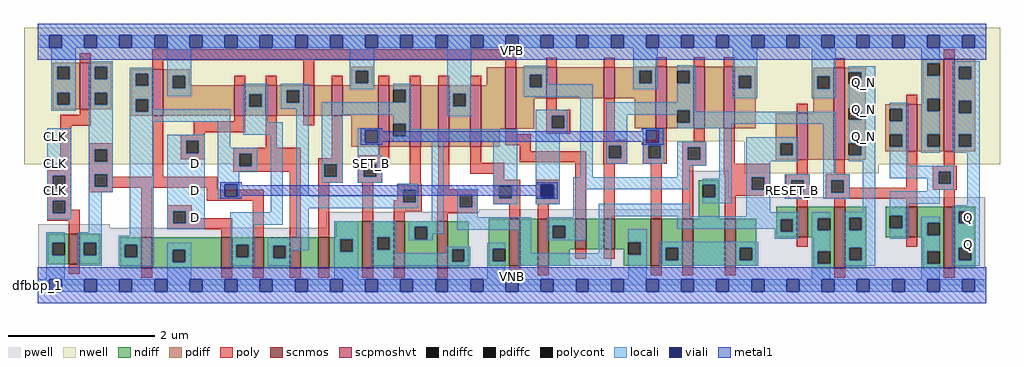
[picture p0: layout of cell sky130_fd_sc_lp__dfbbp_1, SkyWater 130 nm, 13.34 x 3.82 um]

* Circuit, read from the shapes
.subckt sky130_fd_sc_lp__dfbbp_1 CLK D RESET_B SET_B VGND VNB VPB VPWR Q Q_N
XM1 n1 CLK VGND VNB sky130_fd_pr__nfet_01v8 w=0.42 l=0.15
XM2 VGND n1 n2 VNB sky130_fd_pr__nfet_01v8 w=0.42 l=0.15
XM3 n3 D VGND VNB sky130_fd_pr__nfet_01v8 w=0.42 l=0.15
XM4 n4 n1 n3 VNB sky130_fd_pr__nfet_01v8 w=0.42 l=0.15
XM5 n5 n2 n4 VNB sky130_fd_pr__nfet_01v8 w=0.42 l=0.15
XM6 VGND n6 n5 VNB sky130_fd_pr__nfet_01v8 w=0.42 l=0.15
XM7 n7 SET_B VGND VNB sky130_fd_pr__nfet_01v8 w=0.64 l=0.15
XM8 n6 n4 n7 VNB sky130_fd_pr__nfet_01v8 w=0.64 l=0.15
XM9 n7 n8 n6 VNB sky130_fd_pr__nfet_01v8 w=0.64 l=0.15
XM10 n9 n6 VGND VNB sky130_fd_pr__nfet_01v8 w=0.64 l=0.15
XM11 n10 n2 n9 VNB sky130_fd_pr__nfet_01v8 w=0.64 l=0.15
XM12 n11 n1 n10 VNB sky130_fd_pr__nfet_01v8 w=0.42 l=0.15
XM13 VGND n12 n11 VNB sky130_fd_pr__nfet_01v8 w=0.42 l=0.15
XM14 n13 SET_B VGND VNB sky130_fd_pr__nfet_01v8 w=0.64 l=0.15
XM15 n12 n10 n13 VNB sky130_fd_pr__nfet_01v8 w=0.64 l=0.15
XM16 n13 n8 n12 VNB sky130_fd_pr__nfet_01v8 w=0.64 l=0.15
XM17 VGND RESET_B n8 VNB sky130_fd_pr__nfet_01v8 w=0.42 l=0.15
XM18 Q_N n12 VGND VNB sky130_fd_pr__nfet_01v8 w=0.84 l=0.15
XM19 VGND n12 n14 VNB sky130_fd_pr__nfet_01v8 w=0.42 l=0.15
XM20 Q n14 VGND VNB sky130_fd_pr__nfet_01v8 w=0.84 l=0.15
XM21 n1 CLK VPWR VPB sky130_fd_pr__pfet_01v8_hvt w=0.64 l=0.15
XM22 VPWR n1 n2 VPB sky130_fd_pr__pfet_01v8_hvt w=0.64 l=0.15
XM23 n3 D VPWR VPB sky130_fd_pr__pfet_01v8_hvt w=0.42 l=0.15
XM24 n4 n2 n3 VPB sky130_fd_pr__pfet_01v8_hvt w=0.42 l=0.15
XM25 n15 n1 n4 VPB sky130_fd_pr__pfet_01v8_hvt w=0.42 l=0.15
XM26 VPWR n6 n15 VPB sky130_fd_pr__pfet_01v8_hvt w=0.42 l=0.15
XM27 n6 SET_B VPWR VPB sky130_fd_pr__pfet_01v8_hvt w=0.84 l=0.15
XM28 n16 n4 n6 VPB sky130_fd_pr__pfet_01v8_hvt w=0.84 l=0.15
XM29 VPWR n8 n16 VPB sky130_fd_pr__pfet_01v8_hvt w=0.84 l=0.15
XM30 n17 n6 VPWR VPB sky130_fd_pr__pfet_01v8_hvt w=0.84 l=0.15
XM31 n10 n1 n17 VPB sky130_fd_pr__pfet_01v8_hvt w=0.84 l=0.15
XM32 n18 n2 n10 VPB sky130_fd_pr__pfet_01v8_hvt w=0.42 l=0.15
XM33 VPWR n12 n18 VPB sky130_fd_pr__pfet_01v8_hvt w=0.42 l=0.15
XM34 n12 SET_B VPWR VPB sky130_fd_pr__pfet_01v8_hvt w=0.84 l=0.15
XM35 n19 n10 n12 VPB sky130_fd_pr__pfet_01v8_hvt w=0.84 l=0.15
XM36 VPWR n8 n19 VPB sky130_fd_pr__pfet_01v8_hvt w=0.84 l=0.15
XM37 VPWR RESET_B n8 VPB sky130_fd_pr__pfet_01v8_hvt w=0.64 l=0.15
XM38 Q_N n12 VPWR VPB sky130_fd_pr__pfet_01v8_hvt w=1.26 l=0.15
XM39 VPWR n12 n14 VPB sky130_fd_pr__pfet_01v8_hvt w=0.64 l=0.15
XM40 Q n14 VPWR VPB sky130_fd_pr__pfet_01v8_hvt w=1.26 l=0.15
.ends

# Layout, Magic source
magic
tech sky130A
magscale 1 2
<< nwell >>
rect -38 394 2630 704
rect -38 331 1677 394
rect 1931 331 2630 394
rect 1931 307 2299 331
<< pwell >>
rect 1780 241 1889 313
rect 1780 208 2589 241
rect 1206 201 2589 208
rect 1 157 197 167
rect 788 157 2589 201
rect 1 49 2589 157
rect 0 0 2592 49
<< scnmos >>
rect 84 57 114 141
rect 282 47 312 131
rect 501 47 531 131
rect 587 47 617 131
rect 689 47 719 131
rect 767 47 797 131
rect 887 47 917 175
rect 973 47 1003 175
rect 1091 47 1121 175
rect 1289 54 1319 182
rect 1367 54 1397 182
rect 1469 98 1499 182
rect 1547 98 1577 182
rect 1675 54 1705 182
rect 1761 54 1791 182
rect 1878 54 1908 182
rect 2075 131 2105 215
rect 2177 47 2207 215
rect 2374 131 2404 215
rect 2476 47 2506 215
<< scpmoshvt >>
rect 114 481 144 609
rect 312 463 342 591
rect 537 463 567 547
rect 623 463 653 547
rect 725 463 755 547
rect 803 463 833 547
rect 930 379 960 547
rect 1016 379 1046 547
rect 1094 379 1124 547
rect 1182 379 1212 547
rect 1277 428 1307 596
rect 1389 512 1419 596
rect 1547 512 1577 596
rect 1689 430 1719 598
rect 1793 430 1823 598
rect 1875 430 1905 598
rect 2074 343 2104 471
rect 2176 343 2206 595
rect 2374 367 2404 495
rect 2476 367 2506 619
<< ndiff >>
rect 27 116 84 141
rect 27 82 39 116
rect 73 82 84 116
rect 27 57 84 82
rect 114 116 171 141
rect 1806 275 1863 287
rect 1806 241 1818 275
rect 1852 241 1863 275
rect 1806 182 1863 241
rect 814 131 887 175
rect 114 82 125 116
rect 159 82 171 116
rect 114 57 171 82
rect 225 111 282 131
rect 225 77 237 111
rect 271 77 282 111
rect 225 47 282 77
rect 312 97 501 131
rect 312 63 369 97
rect 403 63 501 97
rect 312 47 501 63
rect 531 111 587 131
rect 531 77 542 111
rect 576 77 587 111
rect 531 47 587 77
rect 617 108 689 131
rect 617 74 644 108
rect 678 74 689 108
rect 617 47 689 74
rect 719 47 767 131
rect 797 126 887 131
rect 797 92 826 126
rect 860 92 887 126
rect 797 47 887 92
rect 917 131 973 175
rect 917 97 928 131
rect 962 97 973 131
rect 917 47 973 97
rect 1003 160 1091 175
rect 1003 126 1030 160
rect 1064 126 1091 160
rect 1003 47 1091 126
rect 1121 99 1178 175
rect 1121 65 1132 99
rect 1166 65 1178 99
rect 1121 47 1178 65
rect 1232 100 1289 182
rect 1232 66 1244 100
rect 1278 66 1289 100
rect 1232 54 1289 66
rect 1319 54 1367 182
rect 1397 163 1469 182
rect 1397 129 1408 163
rect 1442 129 1469 163
rect 1397 98 1469 129
rect 1499 98 1547 182
rect 1577 118 1675 182
rect 1577 98 1614 118
rect 1397 54 1454 98
rect 1602 84 1614 98
rect 1648 84 1675 118
rect 1602 54 1675 84
rect 1705 103 1761 182
rect 1705 69 1716 103
rect 1750 69 1761 103
rect 1705 54 1761 69
rect 1791 54 1878 182
rect 1908 103 1964 182
rect 2018 180 2075 215
rect 2018 146 2030 180
rect 2064 146 2075 180
rect 2018 131 2075 146
rect 2105 184 2177 215
rect 2105 150 2132 184
rect 2166 150 2177 184
rect 2105 131 2177 150
rect 1908 69 1919 103
rect 1953 69 1964 103
rect 1908 54 1964 69
rect 2120 93 2177 131
rect 2120 59 2132 93
rect 2166 59 2177 93
rect 2120 47 2177 59
rect 2207 185 2264 215
rect 2207 151 2218 185
rect 2252 151 2264 185
rect 2207 103 2264 151
rect 2318 190 2374 215
rect 2318 156 2329 190
rect 2363 156 2374 190
rect 2318 131 2374 156
rect 2404 171 2476 215
rect 2404 137 2431 171
rect 2465 137 2476 171
rect 2404 131 2476 137
rect 2207 69 2218 103
rect 2252 69 2264 103
rect 2207 47 2264 69
rect 2419 93 2476 131
rect 2419 59 2431 93
rect 2465 59 2476 93
rect 2419 47 2476 59
rect 2506 203 2563 215
rect 2506 169 2517 203
rect 2551 169 2563 203
rect 2506 103 2563 169
rect 2506 69 2517 103
rect 2551 69 2563 103
rect 2506 47 2563 69
<< pdiff >>
rect 41 597 114 609
rect 41 563 53 597
rect 87 563 114 597
rect 41 527 114 563
rect 41 493 53 527
rect 87 493 114 527
rect 41 481 114 493
rect 144 597 201 609
rect 144 563 155 597
rect 189 563 201 597
rect 144 527 201 563
rect 144 493 155 527
rect 189 493 201 527
rect 144 481 201 493
rect 255 579 312 591
rect 255 545 267 579
rect 301 545 312 579
rect 255 509 312 545
rect 255 475 267 509
rect 301 475 312 509
rect 255 463 312 475
rect 342 573 415 591
rect 342 539 369 573
rect 403 547 415 573
rect 857 586 915 598
rect 1632 596 1689 598
rect 857 552 869 586
rect 903 552 915 586
rect 857 547 915 552
rect 1227 547 1277 596
rect 403 539 537 547
rect 342 463 537 539
rect 567 522 623 547
rect 567 488 578 522
rect 612 488 623 522
rect 567 463 623 488
rect 653 533 725 547
rect 653 499 680 533
rect 714 499 725 533
rect 653 463 725 499
rect 755 463 803 547
rect 833 463 930 547
rect 857 379 930 463
rect 960 535 1016 547
rect 960 501 971 535
rect 1005 501 1016 535
rect 960 442 1016 501
rect 960 408 971 442
rect 1005 408 1016 442
rect 960 379 1016 408
rect 1046 379 1094 547
rect 1124 523 1182 547
rect 1124 489 1135 523
rect 1169 489 1182 523
rect 1124 379 1182 489
rect 1212 428 1277 547
rect 1307 575 1389 596
rect 1307 541 1344 575
rect 1378 541 1389 575
rect 1307 512 1389 541
rect 1419 512 1547 596
rect 1577 586 1689 596
rect 1577 552 1644 586
rect 1678 552 1689 586
rect 1577 512 1689 552
rect 1307 428 1357 512
rect 1212 379 1262 428
rect 1632 430 1689 512
rect 1719 586 1793 598
rect 1719 552 1748 586
rect 1782 552 1793 586
rect 1719 479 1793 552
rect 1719 445 1748 479
rect 1782 445 1793 479
rect 1719 430 1793 445
rect 1823 430 1875 598
rect 1905 573 1962 598
rect 2419 607 2476 619
rect 1905 539 1916 573
rect 1950 539 1962 573
rect 1905 430 1962 539
rect 2119 572 2176 595
rect 2119 538 2131 572
rect 2165 538 2176 572
rect 2119 471 2176 538
rect 2017 389 2074 471
rect 2017 355 2029 389
rect 2063 355 2074 389
rect 2017 343 2074 355
rect 2104 343 2176 471
rect 2206 583 2263 595
rect 2206 549 2217 583
rect 2251 549 2263 583
rect 2206 486 2263 549
rect 2419 573 2431 607
rect 2465 573 2476 607
rect 2419 510 2476 573
rect 2419 495 2431 510
rect 2206 452 2217 486
rect 2251 452 2263 486
rect 2206 389 2263 452
rect 2206 355 2217 389
rect 2251 355 2263 389
rect 2317 483 2374 495
rect 2317 449 2329 483
rect 2363 449 2374 483
rect 2317 413 2374 449
rect 2317 379 2329 413
rect 2363 379 2374 413
rect 2317 367 2374 379
rect 2404 476 2431 495
rect 2465 476 2476 510
rect 2404 413 2476 476
rect 2404 379 2431 413
rect 2465 379 2476 413
rect 2404 367 2476 379
rect 2506 597 2563 619
rect 2506 563 2517 597
rect 2551 563 2563 597
rect 2506 505 2563 563
rect 2506 471 2517 505
rect 2551 471 2563 505
rect 2506 413 2563 471
rect 2506 379 2517 413
rect 2551 379 2563 413
rect 2506 367 2563 379
rect 2206 343 2263 355
<< ndiffc >>
rect 39 82 73 116
rect 1818 241 1852 275
rect 125 82 159 116
rect 237 77 271 111
rect 369 63 403 97
rect 542 77 576 111
rect 644 74 678 108
rect 826 92 860 126
rect 928 97 962 131
rect 1030 126 1064 160
rect 1132 65 1166 99
rect 1244 66 1278 100
rect 1408 129 1442 163
rect 1614 84 1648 118
rect 1716 69 1750 103
rect 2030 146 2064 180
rect 2132 150 2166 184
rect 1919 69 1953 103
rect 2132 59 2166 93
rect 2218 151 2252 185
rect 2329 156 2363 190
rect 2431 137 2465 171
rect 2218 69 2252 103
rect 2431 59 2465 93
rect 2517 169 2551 203
rect 2517 69 2551 103
<< pdiffc >>
rect 53 563 87 597
rect 53 493 87 527
rect 155 563 189 597
rect 155 493 189 527
rect 267 545 301 579
rect 267 475 301 509
rect 369 539 403 573
rect 869 552 903 586
rect 578 488 612 522
rect 680 499 714 533
rect 971 501 1005 535
rect 971 408 1005 442
rect 1135 489 1169 523
rect 1344 541 1378 575
rect 1644 552 1678 586
rect 1748 552 1782 586
rect 1748 445 1782 479
rect 1916 539 1950 573
rect 2131 538 2165 572
rect 2029 355 2063 389
rect 2217 549 2251 583
rect 2431 573 2465 607
rect 2217 452 2251 486
rect 2217 355 2251 389
rect 2329 449 2363 483
rect 2329 379 2363 413
rect 2431 476 2465 510
rect 2431 379 2465 413
rect 2517 563 2551 597
rect 2517 471 2551 505
rect 2517 379 2551 413
<< poly >>
rect 114 609 144 635
rect 312 615 1307 645
rect 312 591 342 615
rect 114 466 144 481
rect 61 436 144 466
rect 537 547 567 573
rect 623 547 653 573
rect 725 547 755 615
rect 1277 596 1307 615
rect 1389 596 1419 622
rect 1547 596 1577 622
rect 1689 598 1719 624
rect 1793 598 1823 624
rect 1875 598 1905 624
rect 803 547 833 573
rect 930 547 960 573
rect 1016 547 1046 573
rect 1094 547 1124 573
rect 1182 547 1212 573
rect 61 315 91 436
rect 25 299 91 315
rect 25 265 41 299
rect 75 265 91 299
rect 25 231 91 265
rect 139 372 205 388
rect 139 338 155 372
rect 189 338 205 372
rect 139 304 205 338
rect 139 270 155 304
rect 189 297 205 304
rect 312 297 342 463
rect 537 448 567 463
rect 426 418 567 448
rect 426 411 456 418
rect 390 395 456 411
rect 390 361 406 395
rect 440 361 456 395
rect 623 376 653 463
rect 725 437 755 463
rect 390 345 456 361
rect 534 360 719 376
rect 534 326 550 360
rect 584 326 719 360
rect 803 347 833 463
rect 1389 480 1419 512
rect 1389 464 1455 480
rect 1389 430 1405 464
rect 1439 430 1455 464
rect 1277 413 1307 428
rect 1389 414 1455 430
rect 1277 383 1347 413
rect 1547 398 1577 512
rect 2176 595 2206 621
rect 2476 619 2506 645
rect 2074 471 2104 497
rect 1689 398 1719 430
rect 930 355 960 379
rect 534 310 719 326
rect 189 270 492 297
rect 139 267 492 270
rect 139 254 205 267
rect 25 197 41 231
rect 75 206 91 231
rect 75 197 114 206
rect 25 176 114 197
rect 84 141 114 176
rect 282 131 312 267
rect 462 261 492 267
rect 462 231 617 261
rect 354 203 420 219
rect 354 169 370 203
rect 404 183 420 203
rect 404 169 531 183
rect 354 153 531 169
rect 501 131 531 153
rect 587 131 617 231
rect 689 131 719 310
rect 767 331 833 347
rect 767 297 783 331
rect 817 297 833 331
rect 767 281 833 297
rect 875 331 960 355
rect 875 297 891 331
rect 925 325 960 331
rect 925 297 941 325
rect 875 281 941 297
rect 767 131 797 281
rect 887 175 917 281
rect 1016 277 1046 379
rect 983 261 1049 277
rect 1094 263 1124 379
rect 1182 335 1212 379
rect 1317 366 1347 383
rect 1545 382 1611 398
rect 1317 336 1499 366
rect 1182 305 1275 335
rect 1245 288 1275 305
rect 1245 272 1319 288
rect 983 233 999 261
rect 973 227 999 233
rect 1033 227 1049 261
rect 973 203 1049 227
rect 1091 247 1203 263
rect 1091 213 1153 247
rect 1187 213 1203 247
rect 1245 238 1261 272
rect 1295 238 1319 272
rect 1245 222 1319 238
rect 1361 272 1427 288
rect 1361 238 1377 272
rect 1411 238 1427 272
rect 1361 222 1427 238
rect 973 175 1003 203
rect 1091 197 1203 213
rect 1091 175 1121 197
rect 1289 182 1319 222
rect 1367 182 1397 222
rect 1469 182 1499 336
rect 1545 348 1561 382
rect 1595 348 1611 382
rect 1545 332 1611 348
rect 1653 382 1719 398
rect 1793 393 1823 430
rect 1653 348 1669 382
rect 1703 348 1719 382
rect 1653 332 1719 348
rect 1761 377 1827 393
rect 1761 343 1777 377
rect 1811 343 1827 377
rect 1547 182 1577 332
rect 1675 182 1705 332
rect 1761 327 1827 343
rect 1875 332 1905 430
rect 2374 495 2404 521
rect 1761 182 1791 327
rect 1875 302 2002 332
rect 2074 303 2104 343
rect 2176 303 2206 343
rect 1878 295 2002 302
rect 1878 261 1952 295
rect 1986 261 2002 295
rect 1878 245 2002 261
rect 2044 287 2110 303
rect 2044 253 2060 287
rect 2094 253 2110 287
rect 1878 182 1908 245
rect 2044 237 2110 253
rect 2153 287 2219 303
rect 2153 253 2169 287
rect 2203 267 2219 287
rect 2374 267 2404 367
rect 2476 327 2506 367
rect 2203 253 2404 267
rect 2446 311 2512 327
rect 2446 277 2462 311
rect 2496 277 2512 311
rect 2446 261 2512 277
rect 2153 237 2404 253
rect 2075 215 2105 237
rect 2177 215 2207 237
rect 2374 215 2404 237
rect 2476 215 2506 261
rect 84 31 114 57
rect 1469 72 1499 98
rect 1547 72 1577 98
rect 2075 105 2105 131
rect 282 21 312 47
rect 501 21 531 47
rect 587 21 617 47
rect 689 21 719 47
rect 767 21 797 47
rect 887 21 917 47
rect 973 21 1003 47
rect 1091 21 1121 47
rect 1289 28 1319 54
rect 1367 28 1397 54
rect 1675 28 1705 54
rect 1761 28 1791 54
rect 1878 28 1908 54
rect 2374 105 2404 131
rect 2177 21 2207 47
rect 2476 21 2506 47
<< polycont >>
rect 41 265 75 299
rect 155 338 189 372
rect 155 270 189 304
rect 406 361 440 395
rect 550 326 584 360
rect 1405 430 1439 464
rect 41 197 75 231
rect 370 169 404 203
rect 783 297 817 331
rect 891 297 925 331
rect 999 227 1033 261
rect 1153 213 1187 247
rect 1261 238 1295 272
rect 1377 238 1411 272
rect 1561 348 1595 382
rect 1669 348 1703 382
rect 1777 343 1811 377
rect 1952 261 1986 295
rect 2060 253 2094 287
rect 2169 253 2203 287
rect 2462 277 2496 311
<< locali >>
rect 0 649 31 683
rect 65 649 127 683
rect 161 649 223 683
rect 257 649 319 683
rect 353 649 415 683
rect 449 649 511 683
rect 545 649 607 683
rect 641 649 703 683
rect 737 649 799 683
rect 833 649 895 683
rect 929 649 991 683
rect 1025 649 1087 683
rect 1121 649 1183 683
rect 1217 649 1279 683
rect 1313 649 1375 683
rect 1409 649 1471 683
rect 1505 649 1567 683
rect 1601 649 1663 683
rect 1697 649 1759 683
rect 1793 649 1855 683
rect 1889 649 1951 683
rect 1985 649 2047 683
rect 2081 649 2143 683
rect 2177 649 2239 683
rect 2273 649 2335 683
rect 2369 649 2431 683
rect 2465 649 2527 683
rect 2561 649 2592 683
rect 37 597 103 649
rect 37 563 53 597
rect 87 563 103 597
rect 37 527 103 563
rect 37 493 53 527
rect 87 493 103 527
rect 37 477 103 493
rect 139 597 205 613
rect 139 563 155 597
rect 189 563 205 597
rect 139 527 205 563
rect 139 493 155 527
rect 189 493 205 527
rect 25 299 91 430
rect 25 265 41 299
rect 75 265 91 299
rect 25 231 91 265
rect 25 197 41 231
rect 75 197 91 231
rect 25 181 91 197
rect 139 372 205 493
rect 139 338 155 372
rect 189 338 205 372
rect 139 304 205 338
rect 139 270 155 304
rect 189 270 205 304
rect 139 254 205 270
rect 251 579 317 595
rect 251 545 267 579
rect 301 545 317 579
rect 251 509 317 545
rect 353 573 419 649
rect 353 539 369 573
rect 403 539 419 573
rect 853 586 919 649
rect 853 552 869 586
rect 903 552 919 586
rect 353 517 419 539
rect 562 522 628 551
rect 251 475 267 509
rect 301 481 317 509
rect 562 488 578 522
rect 612 488 628 522
rect 301 475 526 481
rect 251 447 526 475
rect 139 145 175 254
rect 23 116 73 145
rect 23 82 39 116
rect 23 17 73 82
rect 109 116 175 145
rect 251 135 317 447
rect 354 395 456 411
rect 354 361 406 395
rect 440 361 456 395
rect 354 203 456 361
rect 492 376 526 447
rect 562 446 628 488
rect 664 533 740 551
rect 853 536 919 552
rect 664 499 680 533
rect 714 499 740 533
rect 971 535 1021 551
rect 1005 501 1021 535
rect 971 500 1021 501
rect 664 482 740 499
rect 562 412 670 446
rect 492 360 600 376
rect 492 326 550 360
rect 584 326 600 360
rect 492 312 600 326
rect 492 276 551 312
rect 492 242 511 276
rect 545 242 551 276
rect 492 236 551 242
rect 354 169 370 203
rect 404 169 456 203
rect 636 200 670 412
rect 354 153 456 169
rect 526 166 670 200
rect 706 245 740 482
rect 776 466 1021 500
rect 776 331 833 466
rect 971 442 1021 466
rect 1119 523 1185 649
rect 1119 489 1135 523
rect 1169 489 1185 523
rect 1328 575 1394 600
rect 1328 541 1344 575
rect 1378 550 1394 575
rect 1628 586 1694 649
rect 1628 552 1644 586
rect 1678 552 1694 586
rect 1378 541 1517 550
rect 1328 516 1517 541
rect 1628 536 1694 552
rect 1748 586 1798 602
rect 1782 552 1798 586
rect 1119 462 1185 489
rect 1361 464 1447 480
rect 776 297 783 331
rect 817 297 833 331
rect 776 281 833 297
rect 875 424 935 430
rect 875 390 895 424
rect 929 390 935 424
rect 1005 426 1021 442
rect 1361 430 1405 464
rect 1439 430 1447 464
rect 1005 408 1311 426
rect 971 392 1311 408
rect 875 356 935 390
rect 875 331 941 356
rect 875 297 891 331
rect 925 297 941 331
rect 875 281 941 297
rect 983 261 1040 277
rect 983 245 999 261
rect 706 227 999 245
rect 1033 227 1040 261
rect 706 211 1040 227
rect 109 82 125 116
rect 159 82 175 116
rect 109 53 175 82
rect 221 111 317 135
rect 221 77 237 111
rect 271 77 317 111
rect 221 53 317 77
rect 353 97 419 117
rect 353 63 369 97
rect 403 63 419 97
rect 353 17 419 63
rect 526 111 592 166
rect 706 130 740 211
rect 1076 175 1110 392
rect 1245 272 1311 392
rect 526 77 542 111
rect 576 77 592 111
rect 526 53 592 77
rect 628 108 740 130
rect 628 74 644 108
rect 678 96 740 108
rect 810 126 876 175
rect 678 74 694 96
rect 628 53 694 74
rect 810 92 826 126
rect 860 92 876 126
rect 810 17 876 92
rect 912 131 978 175
rect 912 97 928 131
rect 962 97 978 131
rect 1014 160 1110 175
rect 1014 126 1030 160
rect 1064 141 1110 160
rect 1146 247 1203 263
rect 1146 213 1153 247
rect 1187 213 1203 247
rect 1245 238 1261 272
rect 1295 238 1311 272
rect 1245 222 1311 238
rect 1361 414 1447 430
rect 1361 276 1427 414
rect 1483 296 1517 516
rect 1748 500 1798 552
rect 1900 573 1966 649
rect 1900 539 1916 573
rect 1950 539 1966 573
rect 1900 511 1966 539
rect 2115 572 2181 649
rect 2415 607 2465 649
rect 2115 538 2131 572
rect 2165 538 2181 572
rect 2115 511 2181 538
rect 2217 583 2289 599
rect 2251 549 2289 583
rect 1553 479 1798 500
rect 1553 466 1748 479
rect 1553 382 1611 466
rect 1782 475 1798 479
rect 2217 486 2289 549
rect 2415 573 2431 607
rect 2415 510 2465 573
rect 1782 445 2181 475
rect 1748 441 2181 445
rect 1553 348 1561 382
rect 1595 348 1611 382
rect 1553 332 1611 348
rect 1653 424 1712 430
rect 1748 429 1897 441
rect 1653 390 1663 424
rect 1697 390 1712 424
rect 1653 382 1712 390
rect 1653 348 1669 382
rect 1703 348 1712 382
rect 1653 332 1712 348
rect 1748 377 1827 393
rect 1748 343 1777 377
rect 1811 343 1827 377
rect 1748 327 1827 343
rect 1748 296 1782 327
rect 1361 242 1375 276
rect 1409 272 1427 276
rect 1361 238 1377 242
rect 1411 238 1427 272
rect 1361 222 1427 238
rect 1463 262 1782 296
rect 1863 291 1897 429
rect 1818 275 1897 291
rect 1146 186 1203 213
rect 1463 186 1497 262
rect 1852 241 1897 275
rect 1818 225 1897 241
rect 1936 389 2079 405
rect 1936 355 2029 389
rect 2063 355 2079 389
rect 1936 339 2079 355
rect 1936 295 2002 339
rect 2147 303 2181 441
rect 2251 452 2289 486
rect 2217 389 2289 452
rect 2251 355 2289 389
rect 2217 339 2289 355
rect 1936 261 1952 295
rect 1986 261 2002 295
rect 1146 152 1348 186
rect 1064 126 1080 141
rect 1014 123 1080 126
rect 912 87 978 97
rect 1116 99 1182 105
rect 1116 87 1132 99
rect 912 65 1132 87
rect 1166 65 1182 99
rect 912 53 1182 65
rect 1228 100 1278 116
rect 1228 66 1244 100
rect 1228 17 1278 66
rect 1314 87 1348 152
rect 1392 163 1497 186
rect 1392 129 1408 163
rect 1442 129 1497 163
rect 1392 123 1497 129
rect 1533 189 1782 223
rect 1936 200 2002 261
rect 2041 287 2110 303
rect 2041 253 2060 287
rect 2094 253 2110 287
rect 2041 236 2110 253
rect 2147 287 2219 303
rect 2147 253 2169 287
rect 2203 253 2219 287
rect 2147 237 2219 253
rect 2255 201 2289 339
rect 2329 483 2379 499
rect 2363 449 2379 483
rect 2329 413 2379 449
rect 2363 379 2379 413
rect 2329 327 2379 379
rect 2415 476 2431 510
rect 2415 413 2465 476
rect 2415 379 2431 413
rect 2415 363 2465 379
rect 2501 597 2574 613
rect 2501 563 2517 597
rect 2551 563 2574 597
rect 2501 505 2574 563
rect 2501 471 2517 505
rect 2551 471 2574 505
rect 2501 413 2574 471
rect 2501 379 2517 413
rect 2551 379 2574 413
rect 2501 363 2574 379
rect 2329 311 2504 327
rect 2329 293 2462 311
rect 2431 277 2462 293
rect 2496 277 2504 311
rect 2431 261 2504 277
rect 2431 257 2465 261
rect 1936 189 2080 200
rect 1533 87 1567 189
rect 1748 180 2080 189
rect 1748 155 2030 180
rect 1314 53 1567 87
rect 1614 118 1664 153
rect 2014 146 2030 155
rect 2064 146 2080 180
rect 2014 127 2080 146
rect 2116 184 2166 200
rect 2116 150 2132 184
rect 1648 84 1664 118
rect 1614 17 1664 84
rect 1700 103 1969 119
rect 1700 69 1716 103
rect 1750 69 1919 103
rect 1953 69 1969 103
rect 1700 53 1969 69
rect 2116 93 2166 150
rect 2116 59 2132 93
rect 2116 17 2166 59
rect 2202 185 2289 201
rect 2202 151 2218 185
rect 2252 151 2289 185
rect 2202 103 2289 151
rect 2329 223 2465 257
rect 2329 190 2379 223
rect 2540 219 2574 363
rect 2363 156 2379 190
rect 2501 203 2574 219
rect 2329 127 2379 156
rect 2415 171 2465 187
rect 2415 137 2431 171
rect 2202 69 2218 103
rect 2252 69 2289 103
rect 2202 53 2289 69
rect 2415 93 2465 137
rect 2415 59 2431 93
rect 2415 17 2465 59
rect 2501 169 2517 203
rect 2551 169 2574 203
rect 2501 103 2574 169
rect 2501 69 2517 103
rect 2551 69 2574 103
rect 2501 53 2574 69
rect 0 -17 31 17
rect 65 -17 127 17
rect 161 -17 223 17
rect 257 -17 319 17
rect 353 -17 415 17
rect 449 -17 511 17
rect 545 -17 607 17
rect 641 -17 703 17
rect 737 -17 799 17
rect 833 -17 895 17
rect 929 -17 991 17
rect 1025 -17 1087 17
rect 1121 -17 1183 17
rect 1217 -17 1279 17
rect 1313 -17 1375 17
rect 1409 -17 1471 17
rect 1505 -17 1567 17
rect 1601 -17 1663 17
rect 1697 -17 1759 17
rect 1793 -17 1855 17
rect 1889 -17 1951 17
rect 1985 -17 2047 17
rect 2081 -17 2143 17
rect 2177 -17 2239 17
rect 2273 -17 2335 17
rect 2369 -17 2431 17
rect 2465 -17 2527 17
rect 2561 -17 2592 17
<< viali >>
rect 31 649 65 683
rect 127 649 161 683
rect 223 649 257 683
rect 319 649 353 683
rect 415 649 449 683
rect 511 649 545 683
rect 607 649 641 683
rect 703 649 737 683
rect 799 649 833 683
rect 895 649 929 683
rect 991 649 1025 683
rect 1087 649 1121 683
rect 1183 649 1217 683
rect 1279 649 1313 683
rect 1375 649 1409 683
rect 1471 649 1505 683
rect 1567 649 1601 683
rect 1663 649 1697 683
rect 1759 649 1793 683
rect 1855 649 1889 683
rect 1951 649 1985 683
rect 2047 649 2081 683
rect 2143 649 2177 683
rect 2239 649 2273 683
rect 2335 649 2369 683
rect 2431 649 2465 683
rect 2527 649 2561 683
rect 511 242 545 276
rect 895 390 929 424
rect 1663 390 1697 424
rect 1375 272 1409 276
rect 1375 242 1377 272
rect 1377 242 1409 272
rect 31 -17 65 17
rect 127 -17 161 17
rect 223 -17 257 17
rect 319 -17 353 17
rect 415 -17 449 17
rect 511 -17 545 17
rect 607 -17 641 17
rect 703 -17 737 17
rect 799 -17 833 17
rect 895 -17 929 17
rect 991 -17 1025 17
rect 1087 -17 1121 17
rect 1183 -17 1217 17
rect 1279 -17 1313 17
rect 1375 -17 1409 17
rect 1471 -17 1505 17
rect 1567 -17 1601 17
rect 1663 -17 1697 17
rect 1759 -17 1793 17
rect 1855 -17 1889 17
rect 1951 -17 1985 17
rect 2047 -17 2081 17
rect 2143 -17 2177 17
rect 2239 -17 2273 17
rect 2335 -17 2369 17
rect 2431 -17 2465 17
rect 2527 -17 2561 17
<< metal1 >>
rect 0 683 2592 715
rect 0 649 31 683
rect 65 649 127 683
rect 161 649 223 683
rect 257 649 319 683
rect 353 649 415 683
rect 449 649 511 683
rect 545 649 607 683
rect 641 649 703 683
rect 737 649 799 683
rect 833 649 895 683
rect 929 649 991 683
rect 1025 649 1087 683
rect 1121 649 1183 683
rect 1217 649 1279 683
rect 1313 649 1375 683
rect 1409 649 1471 683
rect 1505 649 1567 683
rect 1601 649 1663 683
rect 1697 649 1759 683
rect 1793 649 1855 683
rect 1889 649 1951 683
rect 1985 649 2047 683
rect 2081 649 2143 683
rect 2177 649 2239 683
rect 2273 649 2335 683
rect 2369 649 2431 683
rect 2465 649 2527 683
rect 2561 649 2592 683
rect 0 617 2592 649
rect 883 424 941 430
rect 883 390 895 424
rect 929 421 941 424
rect 1651 424 1709 430
rect 1651 421 1663 424
rect 929 393 1663 421
rect 929 390 941 393
rect 883 384 941 390
rect 1651 390 1663 393
rect 1697 390 1709 424
rect 1651 384 1709 390
rect 499 276 557 282
rect 499 242 511 276
rect 545 273 557 276
rect 1363 276 1421 282
rect 1363 273 1375 276
rect 545 245 1375 273
rect 545 242 557 245
rect 499 236 557 242
rect 1363 242 1375 245
rect 1409 242 1421 276
rect 1363 236 1421 242
rect 0 17 2592 49
rect 0 -17 31 17
rect 65 -17 127 17
rect 161 -17 223 17
rect 257 -17 319 17
rect 353 -17 415 17
rect 449 -17 511 17
rect 545 -17 607 17
rect 641 -17 703 17
rect 737 -17 799 17
rect 833 -17 895 17
rect 929 -17 991 17
rect 1025 -17 1087 17
rect 1121 -17 1183 17
rect 1217 -17 1279 17
rect 1313 -17 1375 17
rect 1409 -17 1471 17
rect 1505 -17 1567 17
rect 1601 -17 1663 17
rect 1697 -17 1759 17
rect 1793 -17 1855 17
rect 1889 -17 1951 17
rect 1985 -17 2047 17
rect 2081 -17 2143 17
rect 2177 -17 2239 17
rect 2273 -17 2335 17
rect 2369 -17 2431 17
rect 2465 -17 2527 17
rect 2561 -17 2592 17
rect 0 -49 2592 -17
<< labels >>
flabel pwell s 0 0 2592 49 0 FreeSans 200 0 0 0 VNB
port 6 nsew ground bidirectional
flabel nwell s 0 617 2592 666 0 FreeSans 200 0 0 0 VPB
port 7 nsew power bidirectional
rlabel comment s 0 0 0 0 4 dfbbp_1
flabel metal1 s 0 617 2592 666 0 FreeSans 340 0 0 0 VPWR
port 8 nsew power bidirectional
flabel metal1 s 0 0 2592 49 0 FreeSans 340 0 0 0 VGND
port 5 nsew ground bidirectional
flabel locali s 2239 390 2273 424 0 FreeSans 340 0 0 0 Q_N
port 10 nsew signal output
flabel locali s 2239 464 2273 498 0 FreeSans 340 0 0 0 Q_N
port 10 nsew signal output
flabel locali s 2239 538 2273 572 0 FreeSans 340 0 0 0 Q_N
port 10 nsew signal output
flabel locali s 31 242 65 276 0 FreeSans 340 0 0 0 CLK
port 1 nsew clock input
flabel locali s 31 316 65 350 0 FreeSans 340 0 0 0 CLK
port 1 nsew clock input
flabel locali s 31 390 65 424 0 FreeSans 340 0 0 0 CLK
port 1 nsew clock input
flabel locali s 2527 94 2561 128 0 FreeSans 340 0 0 0 Q
port 9 nsew signal output
flabel locali s 2527 168 2561 202 0 FreeSans 340 0 0 0 Q
port 9 nsew signal output
flabel locali s 2047 242 2081 276 0 FreeSans 340 0 0 0 RESET_B
port 3 nsew signal input
flabel locali s 415 168 449 202 0 FreeSans 340 0 0 0 D
port 2 nsew signal input
flabel locali s 415 242 449 276 0 FreeSans 340 0 0 0 D
port 2 nsew signal input
flabel locali s 415 316 449 350 0 FreeSans 340 0 0 0 D
port 2 nsew signal input
flabel locali s 895 316 929 350 0 FreeSans 340 0 0 0 SET_B
port 4 nsew signal input
<< properties >>
string LEFsite unit
string LEFclass CORE
string FIXED_BBOX 0 0 2592 666
string GDS_FILE $PDKPATH/libs.ref/sky130_fd_sc_lp/gds/sky130_fd_sc_lp.gds
string LEFsymmetry X Y R90
string GDS_END 7023142
string GDS_START 7004108
<< end >>
